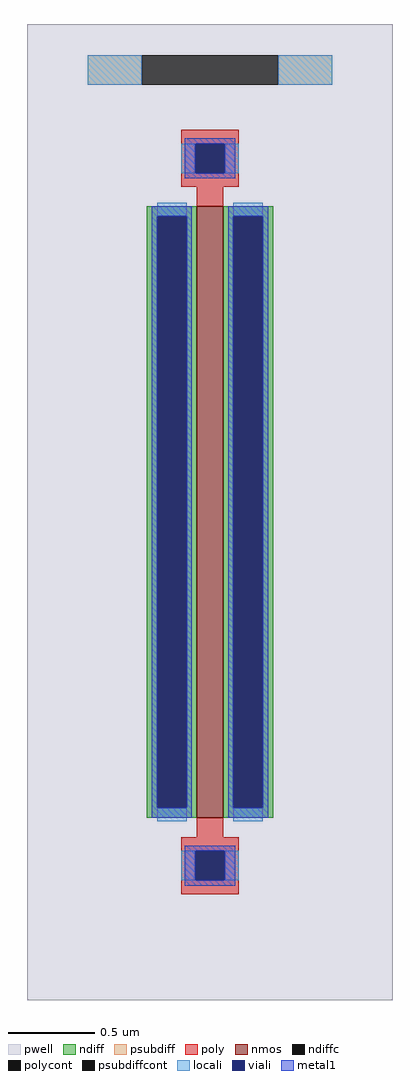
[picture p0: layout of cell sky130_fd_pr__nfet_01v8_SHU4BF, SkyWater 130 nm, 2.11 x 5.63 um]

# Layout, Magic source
magic
tech sky130A
magscale 1 2
<< pwell >>
rect -211 -563 211 563
<< nmos >>
rect -15 -353 15 353
<< ndiff >>
rect -73 341 -15 353
rect -73 -341 -61 341
rect -27 -341 -15 341
rect -73 -353 -15 -341
rect 15 341 73 353
rect 15 -341 27 341
rect 61 -341 73 341
rect 15 -353 73 -341
<< ndiffc >>
rect -61 -341 -27 341
rect 27 -341 61 341
<< psubdiff >>
rect -141 493 -79 527
rect 79 493 141 527
<< psubdiffcont >>
rect -79 493 79 527
<< poly >>
rect -33 425 33 441
rect -33 391 -17 425
rect 17 391 33 425
rect -33 375 33 391
rect -15 353 15 375
rect -15 -375 15 -353
rect -33 -391 33 -375
rect -33 -425 -17 -391
rect 17 -425 33 -391
rect -33 -441 33 -425
<< polycont >>
rect -17 391 17 425
rect -17 -425 17 -391
<< locali >>
rect -141 493 -79 527
rect 79 493 141 527
rect -33 391 -17 425
rect 17 391 33 425
rect -61 341 -27 357
rect -61 -357 -27 -341
rect 27 341 61 357
rect 27 -357 61 -341
rect -33 -425 -17 -391
rect 17 -425 33 -391
<< viali >>
rect -17 391 17 425
rect -61 -341 -27 341
rect 27 -341 61 341
rect -17 -425 17 -391
<< metal1 >>
rect -29 425 29 431
rect -29 391 -17 425
rect 17 391 29 425
rect -29 385 29 391
rect -67 341 -21 353
rect -67 -341 -61 341
rect -27 -341 -21 341
rect -67 -353 -21 -341
rect 21 341 67 353
rect 21 -341 27 341
rect 61 -341 67 341
rect 21 -353 67 -341
rect -29 -391 29 -385
rect -29 -425 -17 -391
rect 17 -425 29 -391
rect -29 -431 29 -425
<< properties >>
string FIXED_BBOX -158 -510 158 510
string gencell sky130_fd_pr__nfet_01v8
string library sky130
string parameters w 3.525 l 0.15 m 1 nf 1 diffcov 100 polycov 100 guard 1 glc 1 grc 1 gtc 1 gbc 1 tbcov 100 rlcov 100 topc 1 botc 1 poverlap 0 doverlap 1 lmin 0.15 wmin 0.42 compatible {sky130_fd_pr__nfet_01v8 sky130_fd_pr__nfet_01v8_lvt  sky130_fd_bs_flash__special_sonosfet_star  sky130_fd_pr__nfet_g5v0d10v5 sky130_fd_pr__nfet_05v0_nvt  sky130_fd_pr__nfet_03v3_nvt} full_metal 1 viasrc 100 viadrn 100 viagate 100 viagb 0 viagr 0 viagl 0 viagt 0
<< end >>
